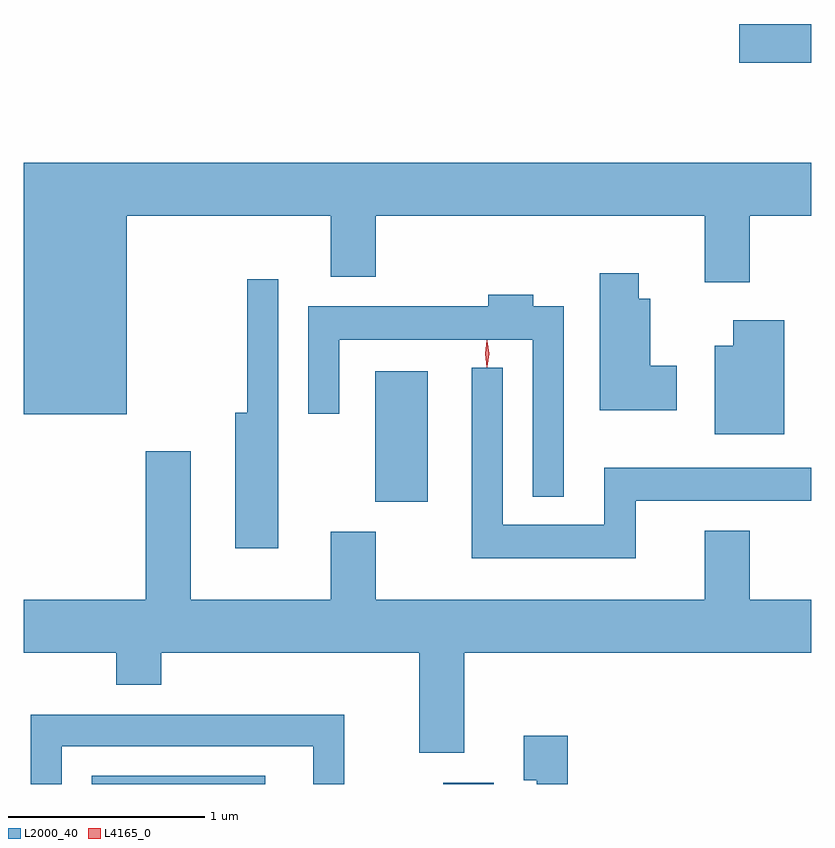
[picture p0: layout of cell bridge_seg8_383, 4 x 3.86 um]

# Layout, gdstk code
import gdstk
lib = gdstk.Library(unit=1e-6, precision=1e-09)
def R(c, l, rs):  # rectangles x0, y0, x1, y1
    for r in rs: c.add(gdstk.rectangle(r[:2], r[2:], *l))
def P(c, l, *ps):  # polygons
    for p in ps: c.add(gdstk.Polygon(p, *l))
L2000_40 = (2000, 40)
L4165_0 = (4165, 0)

bridge_seg8_383 = lib.new_cell('bridge_seg8_383')
R(bridge_seg8_383, L2000_40, [(681.876,1895.688,682.758,1895.729), (683.661,1895.688,683.919,1895.694), (683.316,1897.121,683.584,1897.784), (685.166,1899.351,685.531,1899.549)])
P(bridge_seg8_383, L2000_40, [(682.054,1898.576),(683.091,1898.576),(683.091,1898.266),(683.319,1898.266),(683.319,1898.576),(684.991,1898.576),(684.991,1898.236),(685.219,1898.236),(685.219,1898.576),(685.531,1898.576),(685.531,1898.844),(681.531,1898.844),(681.531,1897.566),(682.054,1897.566)],
  [(684.849,1897.814),(684.714,1897.814),(684.714,1898.154),(684.654,1898.154),(684.654,1898.284),(684.456,1898.284),(684.456,1897.586),(684.849,1897.586)],
  [(682.824,1898.253),(682.666,1898.253),(682.666,1897.574),(682.606,1897.574),(682.606,1896.886),(682.824,1896.886)],
  [(684.274,1898.114),(684.119,1898.114),(684.119,1898.174),(683.891,1898.174),(683.891,1898.114),(682.976,1898.114),(682.976,1897.568),(683.134,1897.568),(683.134,1897.946),(684.116,1897.946),(684.116,1897.148),(684.274,1897.148)],
  [(685.394,1898.044),(685.136,1898.044),(685.136,1897.914),(685.041,1897.914),(685.041,1897.466),(685.394,1897.466)],
  [(684.639,1897.126),(685.531,1897.126),(685.531,1897.294),(684.481,1897.294),(684.481,1897.004),(683.964,1897.004),(683.964,1897.803),(683.806,1897.803),(683.806,1896.836),(684.639,1896.836)],
  [(683.769,1896.356),(685.531,1896.356),(685.531,1896.624),(685.219,1896.624),(685.219,1896.974),(684.991,1896.974),(684.991,1896.624),(683.319,1896.624),(683.319,1896.969),(683.091,1896.969),(683.091,1896.624),(682.379,1896.624),(682.379,1897.379),(682.151,1897.379),(682.151,1896.624),(681.531,1896.624),(681.531,1896.356),(682.001,1896.356),(682.001,1896.191),(682.229,1896.191),(682.229,1896.356),(683.541,1896.356),(683.541,1895.846),(683.769,1895.846)],
  [(681.724,1895.881),(683.001,1895.881),(683.001,1895.688),(683.159,1895.688),(683.159,1896.039),(681.566,1896.039),(681.566,1895.688),(681.724,1895.688)],
  [(684.294,1895.934),(684.071,1895.934),(684.071,1895.706),(684.136,1895.706),(684.136,1895.688),(684.294,1895.688)])
P(bridge_seg8_383, L4165_0, [(683.885,1897.807),(683.884,1897.808),(683.875,1897.874),(683.884,1897.94),(683.885,1897.94),(683.885,1897.94),(683.895,1897.874),(683.885,1897.808)],
  [(683.884,1897.804),(683.884,1897.804),(683.874,1897.874),(683.884,1897.942),(683.884,1897.943),(683.885,1897.942),(683.894,1897.874),(683.885,1897.804)])

lib.write_gds('bridge_seg8_383.gds')
